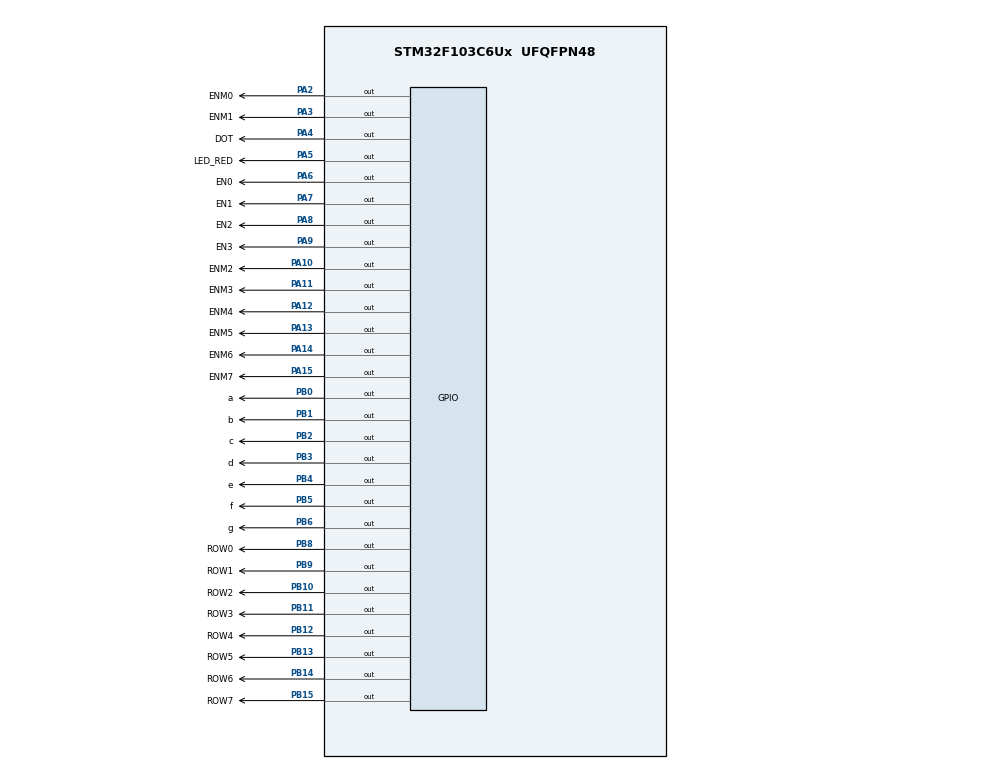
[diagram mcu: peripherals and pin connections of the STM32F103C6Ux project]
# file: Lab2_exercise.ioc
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Mcu.Family=STM32F1
Mcu.Name=STM32F103C6Ux
Mcu.Package=UFQFPN48
NVIC.PriorityGroup=NVIC_PRIORITYGROUP_4
NVIC.TIM2_IRQn=true\:0\:0\:false\:false\:true\:true\:true\:true
PA10.GPIO_Label=ENM2
PA10.Signal=GPIO_Output
PA11.GPIO_Label=ENM3
PA11.Signal=GPIO_Output
PA12.GPIO_Label=ENM4
PA12.Signal=GPIO_Output
PA13.GPIO_Label=ENM5
PA13.Signal=GPIO_Output
PA14.GPIO_Label=ENM6
PA14.Signal=GPIO_Output
PA15.GPIO_Label=ENM7
PA15.Signal=GPIO_Output
PA2.GPIO_Label=ENM0
PA2.Signal=GPIO_Output
PA3.GPIO_Label=ENM1
PA3.Signal=GPIO_Output
PA4.GPIO_Label=DOT
PA4.Signal=GPIO_Output
PA5.GPIO_Label=LED_RED
PA5.Signal=GPIO_Output
PA6.GPIO_Label=EN0
PA6.Signal=GPIO_Output
PA7.GPIO_Label=EN1
PA7.Signal=GPIO_Output
PA8.GPIO_Label=EN2
PA8.Signal=GPIO_Output
PA9.GPIO_Label=EN3
PA9.Signal=GPIO_Output
PB0.GPIO_Label=a
PB0.Signal=GPIO_Output
PB1.GPIO_Label=b
PB1.Signal=GPIO_Output
PB10.GPIO_Label=ROW2
PB10.Signal=GPIO_Output
PB11.GPIO_Label=ROW3
PB11.Signal=GPIO_Output
PB12.GPIO_Label=ROW4
PB12.Signal=GPIO_Output
PB13.GPIO_Label=ROW5
PB13.Signal=GPIO_Output
PB14.GPIO_Label=ROW6
PB14.Signal=GPIO_Output
PB15.GPIO_Label=ROW7
PB15.Signal=GPIO_Output
PB2.GPIO_Label=c
PB2.Signal=GPIO_Output
PB3.GPIO_Label=d
PB3.Signal=GPIO_Output
PB4.GPIO_Label=e
PB4.Signal=GPIO_Output
PB5.GPIO_Label=f
PB5.Signal=GPIO_Output
PB6.GPIO_Label=g
PB6.Signal=GPIO_Output
PB8.GPIO_Label=ROW0
PB8.Signal=GPIO_Output
PB9.GPIO_Label=ROW1
PB9.Signal=GPIO_Output
ProjectManager.HeapSize=0x200
ProjectManager.StackSize=0x400
ProjectManager.TargetToolchain=STM32CubeIDE
RCC.APB1Freq_Value=8000000
RCC.APB2Freq_Value=8000000
TIM2.Period=9
TIM2.Prescaler=7999
VP_SYS_VS_ND.Mode=No_Debug
VP_TIM2_VS_ClockSourceINT.Mode=Internal
board=custom

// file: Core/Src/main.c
/* USER CODE BEGIN Header */
/**
  ******************************************************************************
  * @file           : main.c
  * @brief          : Main program body
  ******************************************************************************
  * @attention
  *
  * Copyright (c) 2025 STMicroelectronics.
  * All rights reserved.
  *
  * This software is licensed under terms that can be found in the LICENSE file
  * in the root directory of this software component.
  * If no LICENSE file comes with this software, it is provided AS-IS.
  *
  ******************************************************************************
  */
/* USER CODE END Header */
#include "main.h"

/* USER CODE BEGIN Includes */
#include "software_timer.h"
#include <stdbool.h>
/* USER CODE END Includes */

TIM_HandleTypeDef htim2;

void SystemClock_Config(void);
static void MX_GPIO_Init(void);
static void MX_TIM2_Init(void);

/* USER CODE BEGIN 0 */
//int timer0_counter = 0;
//int timer0_flag = 0;
//int TIMER_CYCLE = 10;
//void setTimer0 ( int duration ) {
//	timer0_counter = duration / TIMER_CYCLE ;
//	timer0_flag = 0;
//}
//void timer_run () {
//	if ( timer0_counter > 0) {
//		timer0_counter--;
//		if ( timer0_counter == 0) timer0_flag = 1;
//	}
//}

void activeLedSEG(char str[], int length) {
  for (int i=0; i<length; ++i){
    switch (str[i])
    {
    case 'a':
      HAL_GPIO_WritePin(a_GPIO_Port, a_Pin, RESET);
      break;
    case 'b':
      HAL_GPIO_WritePin(b_GPIO_Port, b_Pin, RESET);
      break;
    case 'c':
      HAL_GPIO_WritePin(c_GPIO_Port, c_Pin, RESET);
      break;
    case 'd':
      HAL_GPIO_WritePin(d_GPIO_Port, d_Pin, RESET);
      break;
    case 'e':
      HAL_GPIO_WritePin(e_GPIO_Port, e_Pin, RESET);
      break;
    case 'f':
      HAL_GPIO_WritePin(f_GPIO_Port, f_Pin, RESET);
      break;
    case 'g':
      HAL_GPIO_WritePin(g_GPIO_Port, g_Pin, RESET);
      break;
    default:
      break;
    }
  }
  return;
}
// function to control 7-led-segments, str[] is array contain segments to negative
// and length is length of str[]
void disableLedSEG(char str[], int length) {
  for (int i=0; i<length; ++i){
    switch (str[i])
    {
    case 'a':
      HAL_GPIO_WritePin(a_GPIO_Port, a_Pin, SET);
      break;
    case 'b':
      HAL_GPIO_WritePin(b_GPIO_Port, b_Pin, SET);
      break;
    case 'c':
      HAL_GPIO_WritePin(c_GPIO_Port, c_Pin, SET);
      break;
    case 'd':
      HAL_GPIO_WritePin(d_GPIO_Port, d_Pin, SET);
      break;
    case 'e':
      HAL_GPIO_WritePin(e_GPIO_Port, e_Pin, SET);
      break;
    case 'f':
      HAL_GPIO_WritePin(f_GPIO_Port, f_Pin, SET);
      break;
    case 'g':
      HAL_GPIO_WritePin(g_GPIO_Port, g_Pin, SET);
      break;
    default:
      break;
    }
  }
  return;
}
// function to control 7-led-segments
void display7SEG(int num){
	switch (num) {
		case 0:
			activeLedSEG("abcdef", 6);
			disableLedSEG("g", 1);
			break;
		case 1:
			activeLedSEG("bc", 2);
			disableLedSEG("adefg", 5);
			break;
		case 2:
			activeLedSEG("abdeg", 5);
			disableLedSEG("cf", 2);
			break;
		case 3:
			activeLedSEG("abcdg", 5);
			disableLedSEG("ef", 2);
			break;
		case 4:
			activeLedSEG("bcfg", 4);
			disableLedSEG("ade", 3);
			break;
		case 5:
			activeLedSEG("acdfg", 5);
			disableLedSEG("be", 2);
			break;
		case 6:
			activeLedSEG("acdefg", 6);
			disableLedSEG("b", 1);
			break;
		case 7:
			activeLedSEG("abc", 3);
			disableLedSEG("defg", 4);
			break;
		case 8:
			activeLedSEG("abcdefg", 7);
			break;
		case 9:
			activeLedSEG("abcdfg", 6);
			disableLedSEG("e", 1);
			break;
		default:
			disableLedSEG("abcdefg", 7);
			break;
	}
	return;
}
// function to control EN
void controlENs(int num){
	switch(num){
	case 0:
		HAL_GPIO_WritePin(EN0_GPIO_Port, EN0_Pin, RESET);
		HAL_GPIO_WritePin(EN1_GPIO_Port, EN1_Pin, SET);
		HAL_GPIO_WritePin(EN2_GPIO_Port, EN2_Pin, SET);
		HAL_GPIO_WritePin(EN3_GPIO_Port, EN3_Pin, SET);
		break;
	case 1:
		HAL_GPIO_WritePin(EN0_GPIO_Port, EN0_Pin, SET);
		HAL_GPIO_WritePin(EN1_GPIO_Port, EN1_Pin, RESET);
		HAL_GPIO_WritePin(EN2_GPIO_Port, EN2_Pin, SET);
		HAL_GPIO_WritePin(EN3_GPIO_Port, EN3_Pin, SET);
		break;
	case 2:
		HAL_GPIO_WritePin(EN0_GPIO_Port, EN0_Pin, SET);
		HAL_GPIO_WritePin(EN1_GPIO_Port, EN1_Pin, SET);
		HAL_GPIO_WritePin(EN2_GPIO_Port, EN2_Pin, RESET);
		HAL_GPIO_WritePin(EN3_GPIO_Port, EN3_Pin, SET);
		break;
	case 3:
		HAL_GPIO_WritePin(EN0_GPIO_Port, EN0_Pin, SET);
		HAL_GPIO_WritePin(EN1_GPIO_Port, EN1_Pin, SET);
		HAL_GPIO_WritePin(EN2_GPIO_Port, EN2_Pin, SET);
		HAL_GPIO_WritePin(EN3_GPIO_Port, EN3_Pin, RESET);
		break;
	default:
		HAL_GPIO_WritePin(EN0_GPIO_Port, EN0_Pin, SET);
		HAL_GPIO_WritePin(EN1_GPIO_Port, EN1_Pin, SET);
		HAL_GPIO_WritePin(EN2_GPIO_Port, EN2_Pin, SET);
		HAL_GPIO_WritePin(EN3_GPIO_Port, EN3_Pin, SET);
		break;
	}
}

//Exercise 3
const int MAX_LED = 4;
int index_led = 0;
int led_buffer[4] = {1,2,3,4};
void update7SEG(int index){
	switch(index){
	case 0:
		display7SEG(led_buffer[0]);
		break;
	case 1:
		display7SEG(led_buffer[1]);
		break;
	case 2:
		display7SEG(led_buffer[2]);
		break;
	case 3:
		display7SEG(led_buffer[3]);
		break;
	default:
		break;
	}
}

void disableAllEN(){
	HAL_GPIO_WritePin(EN0_GPIO_Port, EN0_Pin, SET);
	HAL_GPIO_WritePin(EN1_GPIO_Port, EN1_Pin, SET);
	HAL_GPIO_WritePin(EN2_GPIO_Port, EN2_Pin, SET);
	HAL_GPIO_WritePin(EN3_GPIO_Port, EN3_Pin, SET);
}

int hour = 15, minute = 0, second = 15;
void updateClockBuffer() {
	led_buffer[0] = hour % 10;
	led_buffer[1] = hour / 10;
	led_buffer[2] = minute % 10;
	led_buffer[3] = minute / 10;
}

//ex9
// ROW ON
#define ROW0_ON() HAL_GPIO_WritePin(ROW0_GPIO_Port, ROW0_Pin, RESET)
#define ROW1_ON() HAL_GPIO_WritePin(ROW1_GPIO_Port, ROW1_Pin, RESET)
#define ROW2_ON() HAL_GPIO_WritePin(ROW2_GPIO_Port, ROW2_Pin, RESET)
#define ROW3_ON() HAL_GPIO_WritePin(ROW3_GPIO_Port, ROW3_Pin, RESET)
#define ROW4_ON() HAL_GPIO_WritePin(ROW4_GPIO_Port, ROW4_Pin, RESET)
#define ROW5_ON() HAL_GPIO_WritePin(ROW5_GPIO_Port, ROW5_Pin, RESET)
#define ROW6_ON() HAL_GPIO_WritePin(ROW6_GPIO_Port, ROW6_Pin, RESET)
#define ROW7_ON() HAL_GPIO_WritePin(ROW7_GPIO_Port, ROW7_Pin, RESET)
// ROW OFF
#define ROW0_OFF() HAL_GPIO_WritePin(ROW0_GPIO_Port, ROW0_Pin, SET)
#define ROW1_OFF() HAL_GPIO_WritePin(ROW1_GPIO_Port, ROW1_Pin, SET)
#define ROW2_OFF() HAL_GPIO_WritePin(ROW2_GPIO_Port, ROW2_Pin, SET)
#define ROW3_OFF() HAL_GPIO_WritePin(ROW3_GPIO_Port, ROW3_Pin, SET)
#define ROW4_OFF() HAL_GPIO_WritePin(ROW4_GPIO_Port, ROW4_Pin, SET)
#define ROW5_OFF() HAL_GPIO_WritePin(ROW5_GPIO_Port, ROW5_Pin, SET)
#define ROW6_OFF() HAL_GPIO_WritePin(ROW6_GPIO_Port, ROW6_Pin, SET)
#define ROW7_OFF() HAL_GPIO_WritePin(ROW7_GPIO_Port, ROW7_Pin, SET)
// COL OFF
#define COL0_OFF() HAL_GPIO_WritePin(ENM0_GPIO_Port, ENM0_Pin, SET)
#define COL1_OFF() HAL_GPIO_WritePin(ENM1_GPIO_Port, ENM1_Pin, SET)
#define COL2_OFF() HAL_GPIO_WritePin(ENM2_GPIO_Port, ENM2_Pin, SET)
#define COL3_OFF() HAL_GPIO_WritePin(ENM3_GPIO_Port, ENM3_Pin, SET)
#define COL4_OFF() HAL_GPIO_WritePin(ENM4_GPIO_Port, ENM4_Pin, SET)
#define COL5_OFF() HAL_GPIO_WritePin(ENM5_GPIO_Port, ENM5_Pin, SET)
#define COL6_OFF() HAL_GPIO_WritePin(ENM6_GPIO_Port, ENM6_Pin, SET)
#define COL7_OFF() HAL_GPIO_WritePin(ENM7_GPIO_Port, ENM7_Pin, SET)
//COL ON
#define COL0_ON() HAL_GPIO_WritePin(ENM0_GPIO_Port, ENM0_Pin, RESET)
#define COL1_ON() HAL_GPIO_WritePin(ENM1_GPIO_Port, ENM1_Pin, RESET)
#define COL2_ON() HAL_GPIO_WritePin(ENM2_GPIO_Port, ENM2_Pin, RESET)
#define COL3_ON() HAL_GPIO_WritePin(ENM3_GPIO_Port, ENM3_Pin, RESET)
#define COL4_ON() HAL_GPIO_WritePin(ENM4_GPIO_Port, ENM4_Pin, RESET)
#define COL5_ON() HAL_GPIO_WritePin(ENM5_GPIO_Port, ENM5_Pin, RESET)
#define COL6_ON() HAL_GPIO_WritePin(ENM6_GPIO_Port, ENM6_Pin, RESET)
#define COL7_ON() HAL_GPIO_WritePin(ENM7_GPIO_Port, ENM7_Pin, RESET)

void disableAllLEDMatrix(){
	// disable COLs (ENM)
	COL0_OFF();
	COL1_OFF();
	COL2_OFF();
	COL3_OFF();
	COL4_OFF();
	COL5_OFF();
	COL6_OFF();
	COL7_OFF();
	// disable ROWs
	ROW0_OFF();
	ROW1_OFF();
	ROW2_OFF();
	ROW3_OFF();
	ROW4_OFF();
	ROW5_OFF();
	ROW6_OFF();
	ROW7_OFF();
}

void activeRow(int num){
	switch(num){
	case 0:
		ROW0_ON();
		break;
	case 1:
		ROW1_ON();
		break;
	case 2:
		ROW2_ON();
		break;
	case 3:
		ROW3_ON();
		break;
	case 4:
		ROW4_ON();
		break;
	case 5:
		ROW5_ON();
		break;
	case 6:
		ROW6_ON();
		break;
	case 7:
		ROW7_ON();
		break;
	default:
		disableAllLEDMatrix();
		break;
	}
}
// function control led in col
void activeCol(int index){
	switch(index){
		case 0:
			COL0_ON();
			break;
		case 1:
			COL1_ON();
			break;
		case 2:
			COL2_ON();
			break;
		case 3:
			COL3_ON();
			break;
		case 4:
			COL4_ON();
			break;
		case 5:
			COL5_ON();
			break;
		case 6:
			COL6_ON();
			break;
		case 7:
			COL7_ON();
			break;
		default:
			disableAllLEDMatrix();
			break;

	}
}

const int MAX_LED_MATRIX = 8;
int index_led_matrix = 0;
// Buffer Animation
uint8_t Ani[4][8] = {
		{0x7E, 0x7E, 0x18, 0x18, 0x18, 0x18, 0x18, 0x18},
		{0x66, 0x66, 0x66, 0x7E, 0x7E, 0x66, 0x66, 0x66},
		{0x18, 0x3C, 0x24, 0x24, 0x3C, 0x3C, 0x24, 0x24},
		{0x18, 0x3C, 0x66, 0x66, 0x66, 0x66, 0x3C, 0x18}
};
uint8_t matrix_buffer[8] = {0x18, 0x18, 0x18, 0x18, 0xFF, 0x7E, 0x3C, 0x18};
// update matrix_buffer to animation
int countBuffer = 0;
void updateBuffer(){
	for (int i =0; i< MAX_LED_MATRIX; i++){
		matrix_buffer[i] = Ani[countBuffer][i];
	}
	countBuffer++;
	if (countBuffer >= 4) {
		countBuffer = 0;
	}
}

void controlRowLed(uint8_t matrix_buffer){
	for (int i =0 ;i <MAX_LED_MATRIX; i++){
		bool statusLed = (matrix_buffer >> (7 - i)) & 1;
		if (statusLed == 1) {
			activeCol(i);
		}
	}
}
// function using maxtrix_buffer to control led in a Row
void updateLEDMatrix(int index){
	switch(index){
	case 0:
		controlRowLed(matrix_buffer[0]);
		break;
	case 1:
		controlRowLed(matrix_buffer[1]);
		break;
	case 2:
		controlRowLed(matrix_buffer[2]);
		break;
	case 3:
		controlRowLed(matrix_buffer[3]);
		break;
	case 4:
		controlRowLed(matrix_buffer[4]);
		break;
	case 5:
		controlRowLed(matrix_buffer[5]);
		break;
	case 6:
		controlRowLed(matrix_buffer[6]);
		break;
	case 7:
		controlRowLed(matrix_buffer[7]);
		break;
	default:
		disableAllLEDMatrix();
		break;
	}
}
// function display led_matrix
void displayLedMatrix() {
	if (index_led_matrix < 8) {
		// disable all led in led matrix before scan led
		disableAllLEDMatrix();
		// active Row follows index_led_matrix
		activeRow(index_led_matrix);
		// control Led index in Row follows matrix_buffer
		updateLEDMatrix(index_led_matrix);
	}
	index_led_matrix++;
	// check index of led, if it exceed MAX_LED_MATRIX, reset it
	if (index_led_matrix >= 8) {
		index_led_matrix = 0;
	}
}
/* USER CODE END 0 */

int main(void)
{

  /* MCU Configuration--------------------------------------------------------*/

  /* Reset of all peripherals, Initializes the Flash interface and the Systick. */
  HAL_Init();

  /* Configure the system clock */
  SystemClock_Config();

  /* Initialize all configured peripherals */
  MX_GPIO_Init();
  MX_TIM2_Init();
  /* USER CODE BEGIN 2 */
  HAL_TIM_Base_Start_IT(&htim2);
  /* USER CODE END 2 */

  /* Infinite loop */
  /* USER CODE BEGIN WHILE */
    // timer for led matrix
  	setTimer0(10);
    // timer for LED_RED, this led show program running
    setTimer1(100);
    // counter to updateBuffer
    int counter = 0;
    while (1)
    {
  	  if (timer0_flag == 1){
  		  setTimer0(10);
  		  // TODO
  		  displayLedMatrix();
  		  counter++;
  		  if (counter >= 8){
  			  updateBuffer();
  			  counter = 0;
  		  }
  	  }
  	  if (timer1_flag == 1){
  		  setTimer1(100);
  		  // TODO
  		  HAL_GPIO_TogglePin(LED_RED_GPIO_Port, LED_RED_Pin);
  	  }
    /* USER CODE END WHILE */

	}
}

void SystemClock_Config(void)
{
  RCC_OscInitTypeDef RCC_OscInitStruct = {0};
  RCC_ClkInitTypeDef RCC_ClkInitStruct = {0};

  /** Initializes the RCC Oscillators according to the specified parameters
  * in the RCC_OscInitTypeDef structure.
  */
  RCC_OscInitStruct.OscillatorType = RCC_OSCILLATORTYPE_HSI;
  RCC_OscInitStruct.HSIState = RCC_HSI_ON;
  RCC_OscInitStruct.HSICalibrationValue = RCC_HSICALIBRATION_DEFAULT;
  RCC_OscInitStruct.PLL.PLLState = RCC_PLL_NONE;
  if (HAL_RCC_OscConfig(&RCC_OscInitStruct) != HAL_OK)
  {
    Error_Handler();
  }

  /** Initializes the CPU, AHB and APB buses clocks
  */
  RCC_ClkInitStruct.ClockType = RCC_CLOCKTYPE_HCLK|RCC_CLOCKTYPE_SYSCLK
                              |RCC_CLOCKTYPE_PCLK1|RCC_CLOCKTYPE_PCLK2;
  RCC_ClkInitStruct.SYSCLKSource = RCC_SYSCLKSOURCE_HSI;
  RCC_ClkInitStruct.AHBCLKDivider = RCC_SYSCLK_DIV1;
  RCC_ClkInitStruct.APB1CLKDivider = RCC_HCLK_DIV1;
  RCC_ClkInitStruct.APB2CLKDivider = RCC_HCLK_DIV1;

  if (HAL_RCC_ClockConfig(&RCC_ClkInitStruct, FLASH_LATENCY_0) != HAL_OK)
  {
    Error_Handler();
  }
}

static void MX_TIM2_Init(void)
{

  TIM_ClockConfigTypeDef sClockSourceConfig = {0};
  TIM_MasterConfigTypeDef sMasterConfig = {0};

  htim2.Instance = TIM2;
  htim2.Init.Prescaler = 7999;
  htim2.Init.CounterMode = TIM_COUNTERMODE_UP;
  htim2.Init.Period = 9;
  htim2.Init.ClockDivision = TIM_CLOCKDIVISION_DIV1;
  htim2.Init.AutoReloadPreload = TIM_AUTORELOAD_PRELOAD_DISABLE;
  if (HAL_TIM_Base_Init(&htim2) != HAL_OK)
  {
    Error_Handler();
  }
  sClockSourceConfig.ClockSource = TIM_CLOCKSOURCE_INTERNAL;
  if (HAL_TIM_ConfigClockSource(&htim2, &sClockSourceConfig) != HAL_OK)
  {
    Error_Handler();
  }
  sMasterConfig.MasterOutputTrigger = TIM_TRGO_RESET;
  sMasterConfig.MasterSlaveMode = TIM_MASTERSLAVEMODE_DISABLE;
  if (HAL_TIMEx_MasterConfigSynchronization(&htim2, &sMasterConfig) != HAL_OK)
  {
    Error_Handler();
  }

}

static void MX_GPIO_Init(void)
{
  GPIO_InitTypeDef GPIO_InitStruct = {0};

  /* GPIO Ports Clock Enable */
  __HAL_RCC_GPIOA_CLK_ENABLE();
  __HAL_RCC_GPIOB_CLK_ENABLE();

  /*Configure GPIO pin Output Level */
  HAL_GPIO_WritePin(GPIOA, ENM0_Pin|ENM1_Pin|DOT_Pin|LED_RED_Pin
                          |EN0_Pin|EN1_Pin|EN2_Pin|EN3_Pin
                          |ENM2_Pin|ENM3_Pin|ENM4_Pin|ENM5_Pin
                          |ENM6_Pin|ENM7_Pin, GPIO_PIN_RESET);

  /*Configure GPIO pin Output Level */
  HAL_GPIO_WritePin(GPIOB, a_Pin|b_Pin|c_Pin|ROW2_Pin
                          |ROW3_Pin|ROW4_Pin|ROW5_Pin|ROW6_Pin
                          |ROW7_Pin|d_Pin|e_Pin|f_Pin
                          |g_Pin|ROW0_Pin|ROW1_Pin, GPIO_PIN_RESET);

  /*Configure GPIO pins : ENM0_Pin ENM1_Pin DOT_Pin LED_RED_Pin
                           EN0_Pin EN1_Pin EN2_Pin EN3_Pin
                           ENM2_Pin ENM3_Pin ENM4_Pin ENM5_Pin
                           ENM6_Pin ENM7_Pin */
  GPIO_InitStruct.Pin = ENM0_Pin|ENM1_Pin|DOT_Pin|LED_RED_Pin
                          |EN0_Pin|EN1_Pin|EN2_Pin|EN3_Pin
                          |ENM2_Pin|ENM3_Pin|ENM4_Pin|ENM5_Pin
                          |ENM6_Pin|ENM7_Pin;
  GPIO_InitStruct.Mode = GPIO_MODE_OUTPUT_PP;
  GPIO_InitStruct.Pull = GPIO_NOPULL;
  GPIO_InitStruct.Speed = GPIO_SPEED_FREQ_LOW;
  HAL_GPIO_Init(GPIOA, &GPIO_InitStruct);

  /*Configure GPIO pins : a_Pin b_Pin c_Pin ROW2_Pin
                           ROW3_Pin ROW4_Pin ROW5_Pin ROW6_Pin
                           ROW7_Pin d_Pin e_Pin f_Pin
                           g_Pin ROW0_Pin ROW1_Pin */
  GPIO_InitStruct.Pin = a_Pin|b_Pin|c_Pin|ROW2_Pin
                          |ROW3_Pin|ROW4_Pin|ROW5_Pin|ROW6_Pin
                          |ROW7_Pin|d_Pin|e_Pin|f_Pin
                          |g_Pin|ROW0_Pin|ROW1_Pin;
  GPIO_InitStruct.Mode = GPIO_MODE_OUTPUT_PP;
  GPIO_InitStruct.Pull = GPIO_NOPULL;
  GPIO_InitStruct.Speed = GPIO_SPEED_FREQ_LOW;
  HAL_GPIO_Init(GPIOB, &GPIO_InitStruct);

}

/* USER CODE BEGIN 4 */

void HAL_TIM_PeriodElapsedCallback(TIM_HandleTypeDef *htim) {
	timerRun();
}
/* USER CODE END 4 */

void Error_Handler(void)
{
  __disable_irq();
  while (1)
  {
  }
}
